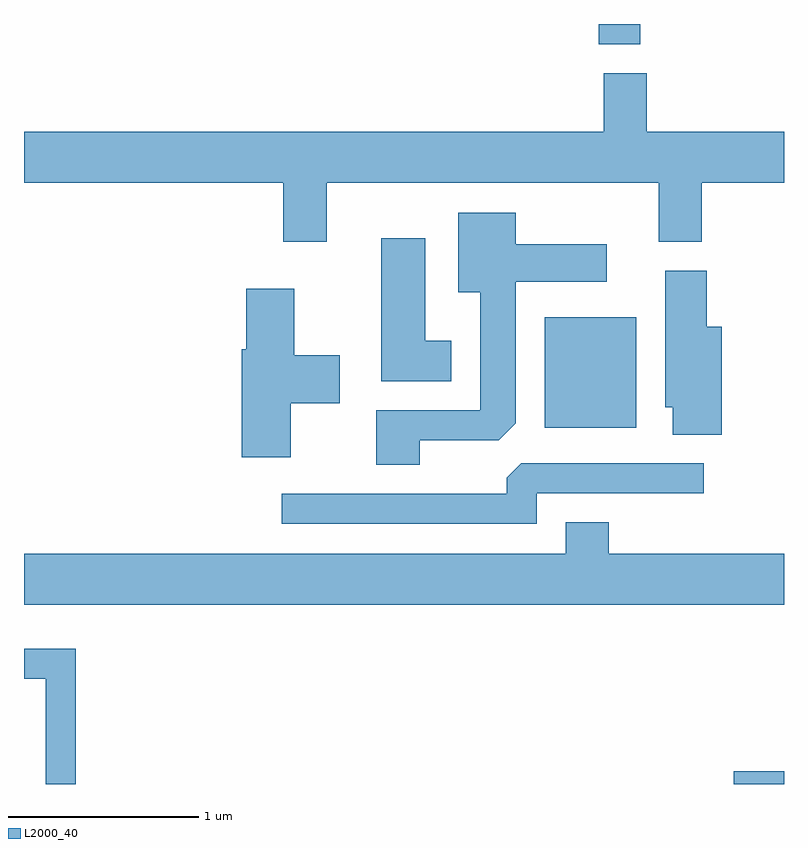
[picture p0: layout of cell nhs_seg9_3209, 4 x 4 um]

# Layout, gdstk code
import gdstk
lib = gdstk.Library(unit=1e-6, precision=1e-09)
def R(c, l, rs):  # rectangles x0, y0, x1, y1
    for r in rs: c.add(gdstk.rectangle(r[:2], r[2:], *l))
def P(c, l, *ps):  # polygons
    for p in ps: c.add(gdstk.Polygon(p, *l))
L2000_40 = (2000, 40)

nhs_seg9_3209 = lib.new_cell('nhs_seg9_3209')
R(nhs_seg9_3209, L2000_40, [(283.346,1986.432,283.611,1986.499), (282.351,1988.306,282.834,1988.889), (282.636,1990.326,282.854,1990.432)])
P(nhs_seg9_3209, L2000_40, [(281.204,1989.596),(282.951,1989.596),(282.951,1989.286),(283.179,1989.286),(283.179,1989.596),(283.611,1989.596),(283.611,1989.864),(282.889,1989.864),(282.889,1990.174),(282.661,1990.174),(282.661,1989.864),(279.611,1989.864),(279.611,1989.596),(280.976,1989.596),(280.976,1989.286),(281.204,1989.286)],
  [(281.694,1988.241),(282.109,1988.241),(282.199,1988.332),(282.199,1989.076),(282.679,1989.076),(282.679,1989.274),(282.199,1989.274),(282.199,1989.439),(281.896,1989.439),(281.896,1989.021),(282.011,1989.021),(282.011,1988.399),(281.466,1988.399),(281.466,1988.111),(281.694,1988.111)],
  [(281.859,1988.764),(281.724,1988.764),(281.724,1989.304),(281.491,1989.304),(281.491,1988.551),(281.859,1988.551)],
  [(283.284,1988.839),(283.204,1988.839),(283.204,1989.134),(282.986,1989.134),(282.986,1988.416),(283.026,1988.416),(283.026,1988.271),(283.284,1988.271)],
  [(281.014,1988.436),(281.274,1988.436),(281.274,1988.689),(281.034,1988.689),(281.034,1989.039),(280.781,1989.039),(280.781,1988.719),(280.756,1988.719),(280.756,1988.151),(281.014,1988.151)],
  [(282.309,1987.961),(283.188,1987.961),(283.188,1988.119),(282.227,1988.119),(282.151,1988.044),(282.151,1987.959),(280.968,1987.959),(280.968,1987.801),(282.309,1987.801)],
  [(283.611,1987.644),(282.689,1987.644),(282.689,1987.809),(282.461,1987.809),(282.461,1987.644),(279.611,1987.644),(279.611,1987.376),(283.611,1987.376)],
  [(279.884,1987.144),(279.613,1987.144),(279.613,1986.986),(279.726,1986.986),(279.726,1986.432),(279.884,1986.432)])

lib.write_gds('nhs_seg9_3209.gds')
